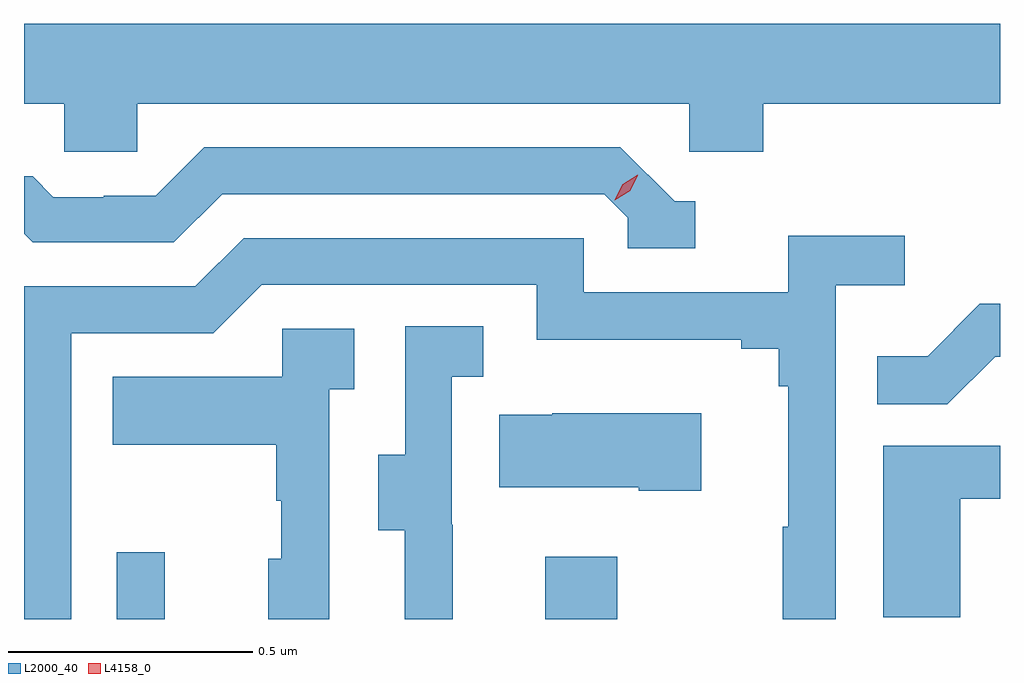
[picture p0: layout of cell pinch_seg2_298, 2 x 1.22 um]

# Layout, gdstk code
import gdstk
lib = gdstk.Library(unit=1e-6, precision=1e-09)
def R(c, l, rs):  # rectangles x0, y0, x1, y1
    for r in rs: c.add(gdstk.rectangle(r[:2], r[2:], *l))
def P(c, l, *ps):  # polygons
    for p in ps: c.add(gdstk.Polygon(p, *l))
L2000_40 = (2000, 40)
L4158_0 = (4158, 0)

pinch_seg2_298 = lib.new_cell('pinch_seg2_298')
R(pinch_seg2_298, L2000_40, [(939.441,641.252,939.539,641.389), (940.319,641.252,940.467,641.38)])
P(pinch_seg2_298, L2000_40, [(939.483,642.308),(940.614,642.308),(940.614,642.21),(940.766,642.21),(940.766,642.308),(941.251,642.308),(941.251,642.472),(939.251,642.472),(939.251,642.308),(939.333,642.308),(939.333,642.21),(939.483,642.21)],
  [(940.627,642.108),(940.584,642.108),(940.473,642.219),(939.62,642.219),(939.521,642.12),(939.414,642.12),(939.414,642.117),(939.311,642.117),(939.269,642.16),(939.251,642.16),(939.251,642.042),(939.269,642.024),(939.558,642.024),(939.657,642.123),(940.44,642.123),(940.488,642.075),(940.488,642.012),(940.627,642.012)],
  [(939.348,641.838),(939.639,641.838),(939.738,641.937),(940.302,641.937),(940.302,641.825),(940.721,641.825),(940.721,641.806),(940.798,641.806),(940.798,641.729),(940.817,641.729),(940.817,641.441),(940.806,641.441),(940.806,641.252),(940.914,641.252),(940.914,641.936),(941.056,641.936),(941.056,642.038),(940.817,642.038),(940.817,641.922),(940.398,641.922),(940.398,642.033),(939.701,642.033),(939.602,641.934),(939.252,641.934),(939.252,641.325),(939.251,641.325),(939.251,641.252),(939.348,641.252)],
  [(941.241,641.79),(941.251,641.79),(941.251,641.898),(941.21,641.898),(941.103,641.791),(940.999,641.791),(940.999,641.692),(941.143,641.692)],
  [(940.13,641.445),(940.128,641.445),(940.128,641.749),(940.192,641.749),(940.192,641.852),(940.032,641.852),(940.032,641.589),(939.977,641.589),(939.977,641.434),(940.031,641.434),(940.031,641.252),(940.13,641.252)],
  [(939.876,641.723),(939.928,641.723),(939.928,641.847),(939.78,641.847),(939.78,641.749),(939.433,641.749),(939.433,641.609),(939.768,641.609),(939.768,641.495),(939.778,641.495),(939.778,641.376),(939.752,641.376),(939.752,641.252),(939.876,641.252)],
  [(940.639,641.674),(940.333,641.674),(940.333,641.671),(940.225,641.671),(940.225,641.522),(940.511,641.522),(940.511,641.515),(940.639,641.515)],
  [(941.17,641.499),(941.251,641.499),(941.251,641.607),(941.012,641.607),(941.012,641.256),(941.17,641.256)])
P(pinch_seg2_298, L4158_0, [(940.462,642.11),(940.462,642.111),(940.478,642.143),(940.509,642.163),(940.509,642.163),(940.509,642.162),(940.493,642.13),(940.462,642.11)])

lib.write_gds('pinch_seg2_298.gds')
